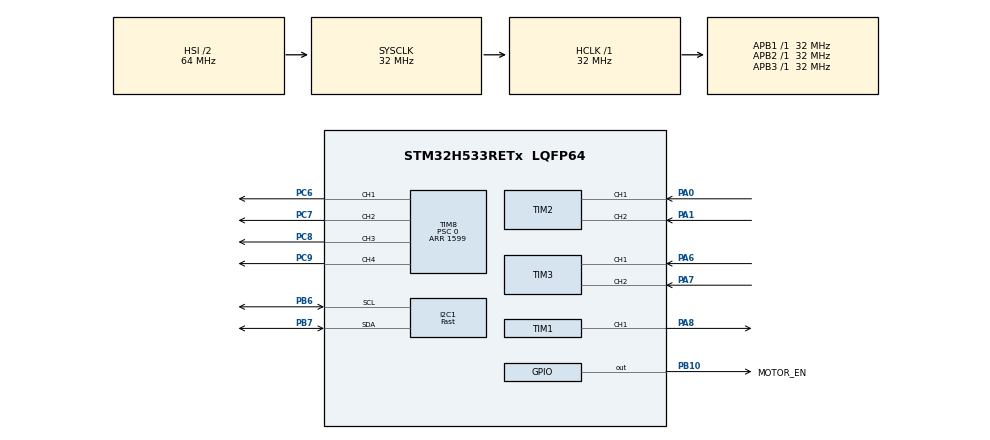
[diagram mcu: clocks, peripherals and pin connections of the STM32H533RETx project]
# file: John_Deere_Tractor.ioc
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BOOTPATH.BootPathName=LEGACY
BOOTPATH.UserSelectedBootPath=LEGACY
CORTEX_M33_NS.Number-Cortex_Memory_Protection_Unit_Region0_OTP_RO_AREAS_Settings=MPU_REGION_NUMBER0
CORTEX_M33_NS.default_mode_Activation=1
CORTEX_M33_NS.userName=CORTEX_M33
I2C1.I2C_Speed_Mode=I2C_Fast
I2C1.Timing=0x00300F38
Mcu.Family=STM32H5
Mcu.Name=STM32H533RETx
Mcu.Package=LQFP64
NUCLEO-H533RE.BUTTON=1
NUCLEO-H533RE.LD4=true
NUCLEO-H533RE.VCP=true
NVIC.EXTI13_IRQn=true\:0\:0\:false\:false\:true\:false\:true\:true
NVIC.PriorityGroup=NVIC_PRIORITYGROUP_4
NVIC.TIM6_IRQn=true\:0\:0\:false\:false\:true\:true\:true\:true
PA0.Signal=S_TIM2_CH1
PA1.Signal=S_TIM2_CH2
PA13(JTMS/SWDIO).GPIO_Label=SWDIO
PA13(JTMS/SWDIO).Signal=DEBUG_JTMS-SWDIO
PA14(JTCK/SWCLK).GPIO_Label=SWCLK
PA14(JTCK/SWCLK).Signal=DEBUG_JTCK-SWCLK
PA15(JTDI).GPIO_Label=JTDI
PA15(JTDI).Signal=DEBUG_JTDI
PA2.Signal=USART2_TX
PA3.Signal=USART2_RX
PA6.Signal=S_TIM3_CH1
PA7.Signal=S_TIM3_CH2
PA8.Signal=S_TIM1_CH1
PB10.GPIO_Label=MOTOR_EN
PB10.Signal=GPIO_Output
PB3(JTDO/TRACESWO).GPIO_Label=SWO
PB3(JTDO/TRACESWO).Signal=DEBUG_JTDO-SWO
PB6.Mode=I2C
PB6.Signal=I2C1_SCL
PB7.Mode=I2C
PB7.Signal=I2C1_SDA
PC6.Signal=S_TIM8_CH1
PC7.Signal=S_TIM8_CH2
PC8.Signal=S_TIM8_CH3
PC9.Signal=S_TIM8_CH4
ProjectManager.HeapSize=0x200
ProjectManager.StackSize=0x400
ProjectManager.TargetToolchain=CMake
RCC.ADCFreq_Value=32000000
RCC.AHBFreq_Value=32000000
RCC.APB1Freq_Value=32000000
RCC.APB1TimFreq_Value=32000000
RCC.APB2Freq_Value=32000000
RCC.APB2TimFreq_Value=32000000
RCC.APB3Freq_Value=32000000
RCC.CSI_VALUE=4000000
RCC.CortexFreq_Value=32000000
RCC.EPOD_VALUE=4000000
RCC.HCLKFreq_Value=32000000
RCC.HSE_VALUE=25000000
RCC.HSI48_VALUE=48000000
RCC.HSI_VALUE=64000000
RCC.LSE_VALUE=32768
RCC.LSIRC_VALUE=32000
RCC.SYSCLKFreq_VALUE=32000000
RCC.USBFreq_Value=48000000
RCC.VCOOutputFreq_Value=516000000
SH.S_TIM1_CH1.0=TIM1_CH1,PWM Generation1 CH1
SH.S_TIM2_CH1.0=TIM2_CH1,Encoder_Interface
SH.S_TIM2_CH2.0=TIM2_CH2,Encoder_Interface
SH.S_TIM3_CH1.0=TIM3_CH1,Encoder_Interface
SH.S_TIM3_CH2.0=TIM3_CH2,Encoder_Interface
SH.S_TIM8_CH1.0=TIM8_CH1,PWM Generation1 CH1
SH.S_TIM8_CH2.0=TIM8_CH2,PWM Generation2 CH2
SH.S_TIM8_CH3.0=TIM8_CH3,PWM Generation3 CH3
SH.S_TIM8_CH4.0=TIM8_CH4,PWM Generation4 CH4
TIM1.Channel-PWM\ Generation1\ CH1=TIM_CHANNEL_1
TIM1.PeriodNoDither=19999
TIM1.Prescaler=31
TIM2.EncoderMode=TIM_ENCODERMODE_TI12
TIM2.IC1Filter=8
TIM2.IC2Filter=8
TIM3.EncoderMode=TIM_ENCODERMODE_TI12
TIM3.IC1Filter=8
TIM3.IC2Filter=8
TIM6.PeriodNoDither=99
TIM6.Prescaler=3199
TIM8.Channel-PWM\ Generation1\ CH1=TIM_CHANNEL_1
TIM8.Channel-PWM\ Generation2\ CH2=TIM_CHANNEL_2
TIM8.Channel-PWM\ Generation3\ CH3=TIM_CHANNEL_3
TIM8.Channel-PWM\ Generation4\ CH4=TIM_CHANNEL_4
TIM8.PeriodNoDither=1599
TIM8.Prescaler=0
VP_BOOTPATH_VS_BOOTPATH.Mode=BP_Activate
VP_CORTEX_M33_NS_VS_Hclk.Mode=Hclk_Mode
VP_ICACHE_VS_ICACHE.Mode=DirectMappedCache
VP_MEMORYMAP_VS_MEMORYMAP.Mode=CurAppReg
VP_NUCLEO-H533RE_VS_BSP_COMMON.Mode=COMMON
VP_PWR_VS_LPOM.Mode=PowerOptimisation
VP_PWR_VS_SECSignals.Mode=Security/Privilege
VP_TIM1_VS_ClockSourceINT.Mode=Internal
VP_TIM6_VS_ClockSourceINT.Mode=Enable_Timer
VP_TIM8_VS_ClockSourceINT.Mode=Internal
board=NUCLEO-H533RE

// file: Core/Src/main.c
/* USER CODE BEGIN Header */
/**
  ******************************************************************************
  * @file           : main.c
  * @brief          : Main program body
  ******************************************************************************
  * @attention
  *
  * Copyright (c) 2026 STMicroelectronics.
  * All rights reserved.
  *
  * This software is licensed under terms that can be found in the LICENSE file
  * in the root directory of this software component.
  * If no LICENSE file comes with this software, it is provided AS-IS.
  *
  ******************************************************************************
  */
/* USER CODE END Header */
#include "main.h"

/* USER CODE BEGIN Includes */
#include <math.h>
#include "constants.h"
#include "pins.h"
#include "motor.h"
#include "servo.h"
#include "pid.h"
#include "bno085.h"
#include "heading_hold.h"
#include "distance.h"
#include "math_utils.h"

/* USER CODE END Includes */

COM_InitTypeDef BspCOMInit;

I2C_HandleTypeDef hi2c1;

TIM_HandleTypeDef htim1;
TIM_HandleTypeDef htim2;
TIM_HandleTypeDef htim3;
TIM_HandleTypeDef htim6;
TIM_HandleTypeDef htim8;

/* USER CODE BEGIN PV */
/* Written by the TIM6 interrupt, read by the main loop */
static volatile uint32_t sample_seq     = 0;  /* number of encoder samples since the start */
static volatile uint16_t sample_count_l = 0;  /* left encoder count at the last sample     */
static volatile uint16_t sample_count_r = 0;  /* right encoder count at the last sample    */
/* USER CODE END PV */

void SystemClock_Config(void);
static void MPU_Config(void);
static void MX_GPIO_Init(void);
static void MX_ICACHE_Init(void);
static void MX_TIM1_Init(void);
static void MX_TIM6_Init(void);
static void MX_I2C1_Init(void);
static void MX_TIM2_Init(void);
static void MX_TIM3_Init(void);
static void MX_TIM8_Init(void);

/* USER CODE BEGIN 0 */
static Motor motor_l, motor_r;
static Servo servo;
static Pid   pid_l, pid_r;

static Bno085      imu;
static HeadingHold heading;
static Pid         pid_heading;
static uint8_t     imu_ok = 0;      /* 1 = the BNO085 started and the heading zero is set */

/* Operator command */
static int32_t  drive_dir  = 0;     /* +1 = forward, -1 = reverse, 0 = stop       */
static int32_t  speed_pct  = 10;    /* 10 to 100 % of WHEEL_SPEED_MAX_RPM         */
static float    steer_deg  = 0.0f;  /* positive = left                            */
static uint32_t t_last_key = 0;     /* time of the last W or S key                */

/* Wheel control state */
static float    target_rpm = 0.0f;  /* vehicle speed target after the ramp        */
static float    rpm_l, rpm_r;       /* measured wheel speeds                      */
static float    cmd_l, cmd_r;       /* motor commands, -100 to 100 %              */
static uint32_t t_motion_l, t_motion_r;  /* last time without a stall condition   */
static uint8_t  stalled    = 0;     /* 1 = stall detected. The Space key clears it. */
static uint32_t overruns   = 0;     /* encoder samples that the main loop missed  */

/* Distance for the telemetry: millimeters, -1 = no target, -2 = not valid. */
static int distance_for_telemetry(DistId id)
{
  uint16_t mm = 0;
  switch (distance_read(id, &mm))
  {
    case DIST_OK:        return (int)mm;
    case DIST_NO_TARGET: return -1;
    default:             return -2;
  }
}

/* True when the heading PID controls the servo. False when the A and D keys control it. */
static uint8_t heading_hold_active(void)
{
  return (HEADING_HOLD_ENABLE != 0) && imu_ok;
}

static void motors_stop(void)
{
  target_rpm = 0.0f;
  cmd_l = 0.0f;
  cmd_r = 0.0f;
  motor_set(&motor_l, 0.0f);
  motor_set(&motor_r, 0.0f);
  pid_reset(&pid_l);
  pid_reset(&pid_r);
}

/* Read one key from the serial port. This function does not wait. */
static void read_key(uint32_t now)
{
  USART_TypeDef *uart = hcom_uart[COM1].Instance;

  /* An overrun error stops the receiver until the flag is cleared. */
  if ((uart->ISR & USART_ISR_ORE) != 0U) { uart->ICR = USART_ICR_ORECF; }
  if ((uart->ISR & USART_ISR_RXNE_RXFNE) == 0U) { return; }

  const char key = (char)uart->RDR;
  switch (key)
  {
    /* Hold-to-drive: only the two drive keys start the command timeout again. */
    case 'w': case 'W': drive_dir = 1;  t_last_key = now; break;
    case 's': case 'S': drive_dir = -1; t_last_key = now; break;
    case 'a': case 'A':
      if (heading_hold_active()) { heading_hold_add_to_target(&heading, HEADING_STEP_DEG); }
      else                       { steer_deg += STEER_STEP_DEG; }
      break;
    case 'd': case 'D':
      if (heading_hold_active()) { heading_hold_add_to_target(&heading, -HEADING_STEP_DEG); }
      else                       { steer_deg -= STEER_STEP_DEG; }
      break;
    case ' ':
      drive_dir = 0;
      motors_stop();  /* immediate stop, no ramp */
      steer_deg = 0.0f;
      heading.target = heading.current_yaw;  /* hold the present heading */
      stalled   = 0;
      HAL_GPIO_WritePin(MOTOR_EN_GPIO_Port, MOTOR_EN_Pin, GPIO_PIN_SET);
      break;
    case '0': speed_pct = 100; break;
    default:
      if (key < '1' || key > '9') { return; }
      speed_pct = (int32_t)(key - '0') * 10;
      break;
  }

  steer_deg  = clampf(steer_deg, -SERVO_MAX_STEER_DEG, SERVO_MAX_STEER_DEG);
  servo_set_deg(&servo, steer_deg);
}

/* Heading hold: the heading PID gives the steering angle. */
static void steering_control(uint32_t now)
{
  if (!heading_hold_active()) { return; }

  float out;
  if (!heading_hold_update(&heading, now, target_rpm != 0.0f, &out))
  {
    drive_dir = 0;  /* no valid heading: do not move */
    return;
  }

  /* In reverse, the same steering angle turns the heading in the opposite direction. */
  steer_deg = (target_rpm < 0.0f) ? -out : out;
  servo_set_deg(&servo, steer_deg);
}

/* Feedforward and PI for one wheel. Returns the motor command in percent. */
static float wheel_command(Pid *pid, float target, float measured, float dt_s)
{
  if (target == 0.0f)
  {
    pid_reset(pid);
    return 0.0f;
  }
  /* The PI gets only the part of the command range that the feedforward term leaves.
   * Thus its anti-windup operates on the total command. */
  const float ff = WHEEL_FF_PCT_PER_RPM * target;
  pid_set_output_limits(pid, -100.0f - ff, 100.0f - ff);
  return clampf(ff + pid_update(pid, target, measured, dt_s), -100.0f, 100.0f);
}

/* Stall condition: a high command and no encoder counts for STALL_TIMEOUT_MS. */
static uint8_t wheel_stalled(float cmd, int32_t delta_counts, uint32_t *t_motion, uint32_t now)
{
  if (fabsf(cmd) < (float)STALL_MIN_DUTY || delta_counts != 0) { *t_motion = now; }
  return (now - *t_motion) >= STALL_TIMEOUT_MS;
}

/* Run the two wheel controllers one time for each new encoder sample. */
static void wheel_control(uint32_t now)
{
  static uint32_t last_seq = 0;
  static uint16_t last_l = 0, last_r = 0;

  __disable_irq();
  const uint32_t seq     = sample_seq;
  const uint16_t count_l = sample_count_l;
  const uint16_t count_r = sample_count_r;
  __enable_irq();

  const uint32_t samples = seq - last_seq;
  if (samples == 0U) { return; }              /* no new measurement: do not use the old one again */
  if (samples > 1U)  { overruns += samples - 1U; }

  /* dt is the real time between the two encoder counts.
   * The 16-bit subtraction gives the correct signed difference when the counter wraps. */
  const float   dt_s    = (float)samples * WHEEL_CONTROL_DT_S;
  const int32_t delta_l = ENC_DIR_LEFT  * (int32_t)(int16_t)(uint16_t)(count_l - last_l);
  const int32_t delta_r = ENC_DIR_RIGHT * (int32_t)(int16_t)(uint16_t)(count_r - last_r);
  last_seq = seq;
  last_l   = count_l;
  last_r   = count_r;

  rpm_l = rpm_from_counts(delta_l, (float)COUNTS_PER_WHEEL_REV, dt_s);
  rpm_r = rpm_from_counts(delta_r, (float)COUNTS_PER_WHEEL_REV, dt_s);

  if (stalled) { return; }

  /* Ramp the speed target toward the operator command. */
  const float goal = (float)drive_dir * (float)speed_pct / 100.0f * WHEEL_SPEED_MAX_RPM;
  const float rate = (fabsf(goal) < fabsf(target_rpm)) ? WHEEL_DECEL_RPM_PER_S : WHEEL_ACCEL_RPM_PER_S;
  const float step = rate * dt_s;
  target_rpm += clampf(goal - target_rpm, -step, step);

  /* In a left turn (positive steering angle) the left wheel is the inner wheel. */
  const float ratio = rear_wheel_ratio(steer_deg, TRACK_WIDTH_MM, WHEELBASE_MM);
  cmd_l = wheel_command(&pid_l, target_rpm * (1.0f - ratio), rpm_l, dt_s);
  cmd_r = wheel_command(&pid_r, target_rpm * (1.0f + ratio), rpm_r, dt_s);
  motor_set(&motor_l, cmd_l);
  motor_set(&motor_r, cmd_r);

  const uint8_t stall_l = wheel_stalled(cmd_l, delta_l, &t_motion_l, now);
  const uint8_t stall_r = wheel_stalled(cmd_r, delta_r, &t_motion_r, now);
  if (stall_l || stall_r)
  {
    stalled   = 1;
    drive_dir = 0;
    HAL_GPIO_WritePin(MOTOR_EN_GPIO_Port, MOTOR_EN_Pin, GPIO_PIN_RESET);
    motors_stop();
  }
}
/* USER CODE END 0 */

int main(void)
{

  /* MCU Configuration--------------------------------------------------------*/

  /* MPU Configuration--------------------------------------------------------*/
  MPU_Config();

  /* Reset of all peripherals, Initializes the Flash interface and the Systick. */
  HAL_Init();

  /* Configure the system clock */
  SystemClock_Config();

  /* Initialize all configured peripherals */
  MX_GPIO_Init();
  MX_ICACHE_Init();
  MX_TIM1_Init();
  MX_TIM6_Init();
  MX_I2C1_Init();
  MX_TIM2_Init();
  MX_TIM3_Init();
  MX_TIM8_Init();
  /* USER CODE BEGIN 2 */
  /* MOTOR_PWM_HZ sets the motor PWM frequency. This replaces the period value from CubeMX.
   * shortcut: correct only while the APB2 clock divider is 1 (timer clock = PCLK2). */
  __HAL_TIM_SET_AUTORELOAD(&MOTOR_PWM_TIM,
      HAL_RCC_GetPCLK2Freq() / (MOTOR_PWM_TIM.Init.Prescaler + 1U) / MOTOR_PWM_HZ - 1U);
  motor_init(&motor_l, &MOTOR_PWM_TIM, MOTOR_L_FWD_CH, MOTOR_L_REV_CH);
  motor_init(&motor_r, &MOTOR_PWM_TIM, MOTOR_R_FWD_CH, MOTOR_R_REV_CH);
  servo_init(&servo, &SERVO_TIM, SERVO_CHANNEL);

  pid_init(&pid_l, WHEEL_KP, WHEEL_KI, 0.0f);
  pid_init(&pid_r, WHEEL_KP, WHEEL_KI, 0.0f);
  pid_set_output_limits(&pid_l, -100.0f, 100.0f);
  pid_set_output_limits(&pid_r, -100.0f, 100.0f);

  /* BNO085 start and heading zero: about 3 s. The vehicle must not move during this time.
   * If the sensor does not answer, the firmware continues without heading data. */
  pid_init(&pid_heading, HEADING_KP, HEADING_KI, HEADING_KD);
  pid_set_output_limits(&pid_heading, -SERVO_MAX_STEER_DEG, SERVO_MAX_STEER_DEG);
  heading_hold_init(&heading, &imu, &pid_heading);
  imu_ok = bno085_begin(&imu, &BNO_I2C, BNO085_I2C_ADDR)
        && heading_hold_calibrate(&heading, HEADING_CAL_SAMPLES, HEADING_CAL_WARMUP_MS);

  /* A sensor that does not answer gives DIST_NOT_VALID. The other sensors continue to operate. */
  if (DISTANCE_ENABLE) { distance_init(&TOF_I2C); }

  HAL_TIM_Encoder_Start(&ENC_L_TIM, TIM_CHANNEL_ALL);
  HAL_TIM_Encoder_Start(&ENC_R_TIM, TIM_CHANNEL_ALL);
  /* WHEEL_CONTROL_PERIOD_MS sets the TIM6 period. This replaces the period value from CubeMX,
   * so the sample time and the RPM calculation always agree.
   * shortcut: correct only while the APB1 clock divider is 1 (timer clock = PCLK1). */
  __HAL_TIM_SET_AUTORELOAD(&ENC_SAMPLE_TIM,
      HAL_RCC_GetPCLK1Freq() / (ENC_SAMPLE_TIM.Init.Prescaler + 1U) / 1000U * WHEEL_CONTROL_PERIOD_MS - 1U);
  HAL_TIM_Base_Start_IT(&ENC_SAMPLE_TIM);

  HAL_GPIO_WritePin(MOTOR_EN_GPIO_Port, MOTOR_EN_Pin, GPIO_PIN_SET);

  uint32_t t_telemetry = HAL_GetTick();
  uint32_t t_steering  = t_telemetry;
  uint32_t t_imu_read  = t_telemetry;
  t_motion_l = t_telemetry;
  t_motion_r = t_telemetry;
  /* USER CODE END 2 */

  /* Initialize leds */
  BSP_LED_Init(LED_GREEN);

  /* Initialize USER push-button, will be used to trigger an interrupt each time it's pressed.*/
  BSP_PB_Init(BUTTON_USER, BUTTON_MODE_EXTI);

  /* Initialize COM1 port (115200, 8 bits (7-bit data + 1 stop bit), no parity */
  BspCOMInit.BaudRate   = 115200;
  BspCOMInit.WordLength = COM_WORDLENGTH_8B;
  BspCOMInit.StopBits   = COM_STOPBITS_1;
  BspCOMInit.Parity     = COM_PARITY_NONE;
  BspCOMInit.HwFlowCtl  = COM_HWCONTROL_NONE;
  if (BSP_COM_Init(COM1, &BspCOMInit) != BSP_ERROR_NONE)
  {
    Error_Handler();
  }

  /* Infinite loop */
  while (1)
  {

    /* USER CODE BEGIN 3 */
    uint32_t now = HAL_GetTick();

    read_key(now);

    /* Hold-to-drive: stop when no key arrives for COMMAND_TIMEOUT_MS. */
    if (drive_dir != 0 && (now - t_last_key) >= COMMAND_TIMEOUT_MS) { drive_dir = 0; }

    /* Heading hold is selected but the sensor did not start: do not move. */
    if (HEADING_HOLD_ENABLE && !imu_ok) { drive_dir = 0; }

    wheel_control(now);

    /* The BNO085 read uses I2C and can take some milliseconds. It stays in the main loop. */
    if (now - t_imu_read >= BNO_READ_PERIOD_MS)
    {
      t_imu_read = now;
      bno085_update(&imu);
    }
    if (DISTANCE_ENABLE) { distance_update(); }
    if (now - t_steering >= STEERING_CONTROL_PERIOD_MS)
    {
      t_steering = now;
      steering_control(now);
    }

    /* shortcut: printf stops the loop for some milliseconds. If the overrun count ("ov")
     * increases, use interrupt or DMA transmission. */
    if (now - t_telemetry >= TELEMETRY_PERIOD_MS)
    {
      t_telemetry = now;
      /* g and r: heading change since the start, from the Game Rotation Vector and the
       * Rotation Vector. Each report has its own zero reference. */
      const char *imu_state = !imu_ok ? " IMU-FAIL"
                            : !bno085_fresh(&imu, HEADING_SOURCE, now) ? " IMU-STALE" : "";
      printf("tgt %d rpm %d %d cmd %d %d steer %d g %d r %d rst %lu ov %lu%s%s\r\n",
             (int)target_rpm, (int)rpm_l, (int)rpm_r, (int)cmd_l, (int)cmd_r, (int)steer_deg,
             (int)bno085_relative_yaw(&imu, HEADING_SOURCE_GAME_RV),
             (int)bno085_relative_yaw(&imu, HEADING_SOURCE_RV),
             (unsigned long)imu.reset_count, (unsigned long)overruns,
             stalled ? " STALL" : "", imu_state);
      /* A second line, so that the format of the first line does not change. */
      if (DISTANCE_ENABLE)
      {
        printf("dist %d %d %d\r\n", distance_for_telemetry(DIST_FRONT),
               distance_for_telemetry(DIST_RIGHT_LOW), distance_for_telemetry(DIST_RIGHT_HIGH));
      }
    }
  }
  /* USER CODE END 3 */
}

void SystemClock_Config(void)
{
  RCC_OscInitTypeDef RCC_OscInitStruct = {0};
  RCC_ClkInitTypeDef RCC_ClkInitStruct = {0};

  /** Configure the main internal regulator output voltage
  */
  __HAL_PWR_VOLTAGESCALING_CONFIG(PWR_REGULATOR_VOLTAGE_SCALE3);

  while(!__HAL_PWR_GET_FLAG(PWR_FLAG_VOSRDY)) {}

  /** Initializes the RCC Oscillators according to the specified parameters
  * in the RCC_OscInitTypeDef structure.
  */
  RCC_OscInitStruct.OscillatorType = RCC_OSCILLATORTYPE_HSI;
  RCC_OscInitStruct.HSIState = RCC_HSI_ON;
  RCC_OscInitStruct.HSIDiv = RCC_HSI_DIV2;
  RCC_OscInitStruct.HSICalibrationValue = RCC_HSICALIBRATION_DEFAULT;
  RCC_OscInitStruct.PLL.PLLState = RCC_PLL_NONE;
  if (HAL_RCC_OscConfig(&RCC_OscInitStruct) != HAL_OK)
  {
    Error_Handler();
  }

  /** Initializes the CPU, AHB and APB buses clocks
  */
  RCC_ClkInitStruct.ClockType = RCC_CLOCKTYPE_HCLK|RCC_CLOCKTYPE_SYSCLK
                              |RCC_CLOCKTYPE_PCLK1|RCC_CLOCKTYPE_PCLK2
                              |RCC_CLOCKTYPE_PCLK3;
  RCC_ClkInitStruct.SYSCLKSource = RCC_SYSCLKSOURCE_HSI;
  RCC_ClkInitStruct.AHBCLKDivider = RCC_SYSCLK_DIV1;
  RCC_ClkInitStruct.APB1CLKDivider = RCC_HCLK_DIV1;
  RCC_ClkInitStruct.APB2CLKDivider = RCC_HCLK_DIV1;
  RCC_ClkInitStruct.APB3CLKDivider = RCC_HCLK_DIV1;

  if (HAL_RCC_ClockConfig(&RCC_ClkInitStruct, FLASH_LATENCY_1) != HAL_OK)
  {
    Error_Handler();
  }

  /** Configure the programming delay
  */
  __HAL_FLASH_SET_PROGRAM_DELAY(FLASH_PROGRAMMING_DELAY_0);
}

static void MX_I2C1_Init(void)
{

  hi2c1.Instance = I2C1;
  hi2c1.Init.Timing = 0x00300F38;
  hi2c1.Init.OwnAddress1 = 0;
  hi2c1.Init.AddressingMode = I2C_ADDRESSINGMODE_7BIT;
  hi2c1.Init.DualAddressMode = I2C_DUALADDRESS_DISABLE;
  hi2c1.Init.OwnAddress2 = 0;
  hi2c1.Init.OwnAddress2Masks = I2C_OA2_NOMASK;
  hi2c1.Init.GeneralCallMode = I2C_GENERALCALL_DISABLE;
  hi2c1.Init.NoStretchMode = I2C_NOSTRETCH_DISABLE;
  if (HAL_I2C_Init(&hi2c1) != HAL_OK)
  {
    Error_Handler();
  }

  /** Configure Analogue filter
  */
  if (HAL_I2CEx_ConfigAnalogFilter(&hi2c1, I2C_ANALOGFILTER_ENABLE) != HAL_OK)
  {
    Error_Handler();
  }

  /** Configure Digital filter
  */
  if (HAL_I2CEx_ConfigDigitalFilter(&hi2c1, 0) != HAL_OK)
  {
    Error_Handler();
  }

}

static void MX_ICACHE_Init(void)
{

  /** Enable instruction cache in 1-way (direct mapped cache)
  */
  if (HAL_ICACHE_ConfigAssociativityMode(ICACHE_1WAY) != HAL_OK)
  {
    Error_Handler();
  }
  if (HAL_ICACHE_Enable() != HAL_OK)
  {
    Error_Handler();
  }

}

static void MX_TIM1_Init(void)
{

  TIM_ClockConfigTypeDef sClockSourceConfig = {0};
  TIM_MasterConfigTypeDef sMasterConfig = {0};
  TIM_OC_InitTypeDef sConfigOC = {0};
  TIM_BreakDeadTimeConfigTypeDef sBreakDeadTimeConfig = {0};

  htim1.Instance = TIM1;
  htim1.Init.Prescaler = 31;
  htim1.Init.CounterMode = TIM_COUNTERMODE_UP;
  htim1.Init.Period = 19999;
  htim1.Init.ClockDivision = TIM_CLOCKDIVISION_DIV1;
  htim1.Init.RepetitionCounter = 0;
  htim1.Init.AutoReloadPreload = TIM_AUTORELOAD_PRELOAD_DISABLE;
  if (HAL_TIM_Base_Init(&htim1) != HAL_OK)
  {
    Error_Handler();
  }
  sClockSourceConfig.ClockSource = TIM_CLOCKSOURCE_INTERNAL;
  if (HAL_TIM_ConfigClockSource(&htim1, &sClockSourceConfig) != HAL_OK)
  {
    Error_Handler();
  }
  if (HAL_TIM_PWM_Init(&htim1) != HAL_OK)
  {
    Error_Handler();
  }
  sMasterConfig.MasterOutputTrigger = TIM_TRGO_RESET;
  sMasterConfig.MasterOutputTrigger2 = TIM_TRGO2_RESET;
  sMasterConfig.MasterSlaveMode = TIM_MASTERSLAVEMODE_DISABLE;
  if (HAL_TIMEx_MasterConfigSynchronization(&htim1, &sMasterConfig) != HAL_OK)
  {
    Error_Handler();
  }
  sConfigOC.OCMode = TIM_OCMODE_PWM1;
  sConfigOC.Pulse = 0;
  sConfigOC.OCPolarity = TIM_OCPOLARITY_HIGH;
  sConfigOC.OCNPolarity = TIM_OCNPOLARITY_HIGH;
  sConfigOC.OCFastMode = TIM_OCFAST_DISABLE;
  sConfigOC.OCIdleState = TIM_OCIDLESTATE_RESET;
  sConfigOC.OCNIdleState = TIM_OCNIDLESTATE_RESET;
  if (HAL_TIM_PWM_ConfigChannel(&htim1, &sConfigOC, TIM_CHANNEL_1) != HAL_OK)
  {
    Error_Handler();
  }
  sBreakDeadTimeConfig.OffStateRunMode = TIM_OSSR_DISABLE;
  sBreakDeadTimeConfig.OffStateIDLEMode = TIM_OSSI_DISABLE;
  sBreakDeadTimeConfig.LockLevel = TIM_LOCKLEVEL_OFF;
  sBreakDeadTimeConfig.DeadTime = 0;
  sBreakDeadTimeConfig.BreakState = TIM_BREAK_DISABLE;
  sBreakDeadTimeConfig.BreakPolarity = TIM_BREAKPOLARITY_HIGH;
  sBreakDeadTimeConfig.BreakFilter = 0;
  sBreakDeadTimeConfig.BreakAFMode = TIM_BREAK_AFMODE_INPUT;
  sBreakDeadTimeConfig.Break2State = TIM_BREAK2_DISABLE;
  sBreakDeadTimeConfig.Break2Polarity = TIM_BREAK2POLARITY_HIGH;
  sBreakDeadTimeConfig.Break2Filter = 0;
  sBreakDeadTimeConfig.Break2AFMode = TIM_BREAK_AFMODE_INPUT;
  sBreakDeadTimeConfig.AutomaticOutput = TIM_AUTOMATICOUTPUT_DISABLE;
  if (HAL_TIMEx_ConfigBreakDeadTime(&htim1, &sBreakDeadTimeConfig) != HAL_OK)
  {
    Error_Handler();
  }
  HAL_TIM_MspPostInit(&htim1);

}

static void MX_TIM2_Init(void)
{

  TIM_Encoder_InitTypeDef sConfig = {0};
  TIM_MasterConfigTypeDef sMasterConfig = {0};

  htim2.Instance = TIM2;
  htim2.Init.Prescaler = 0;
  htim2.Init.CounterMode = TIM_COUNTERMODE_UP;
  htim2.Init.Period = 4294967295;
  htim2.Init.ClockDivision = TIM_CLOCKDIVISION_DIV1;
  htim2.Init.AutoReloadPreload = TIM_AUTORELOAD_PRELOAD_DISABLE;
  sConfig.EncoderMode = TIM_ENCODERMODE_TI12;
  sConfig.IC1Polarity = TIM_ICPOLARITY_RISING;
  sConfig.IC1Selection = TIM_ICSELECTION_DIRECTTI;
  sConfig.IC1Prescaler = TIM_ICPSC_DIV1;
  sConfig.IC1Filter = 8;
  sConfig.IC2Polarity = TIM_ICPOLARITY_RISING;
  sConfig.IC2Selection = TIM_ICSELECTION_DIRECTTI;
  sConfig.IC2Prescaler = TIM_ICPSC_DIV1;
  sConfig.IC2Filter = 8;
  if (HAL_TIM_Encoder_Init(&htim2, &sConfig) != HAL_OK)
  {
    Error_Handler();
  }
  sMasterConfig.MasterOutputTrigger = TIM_TRGO_RESET;
  sMasterConfig.MasterSlaveMode = TIM_MASTERSLAVEMODE_DISABLE;
  if (HAL_TIMEx_MasterConfigSynchronization(&htim2, &sMasterConfig) != HAL_OK)
  {
    Error_Handler();
  }

}

static void MX_TIM3_Init(void)
{

  TIM_Encoder_InitTypeDef sConfig = {0};
  TIM_MasterConfigTypeDef sMasterConfig = {0};

  htim3.Instance = TIM3;
  htim3.Init.Prescaler = 0;
  htim3.Init.CounterMode = TIM_COUNTERMODE_UP;
  htim3.Init.Period = 65535;
  htim3.Init.ClockDivision = TIM_CLOCKDIVISION_DIV1;
  htim3.Init.AutoReloadPreload = TIM_AUTORELOAD_PRELOAD_DISABLE;
  sConfig.EncoderMode = TIM_ENCODERMODE_TI12;
  sConfig.IC1Polarity = TIM_ICPOLARITY_RISING;
  sConfig.IC1Selection = TIM_ICSELECTION_DIRECTTI;
  sConfig.IC1Prescaler = TIM_ICPSC_DIV1;
  sConfig.IC1Filter = 8;
  sConfig.IC2Polarity = TIM_ICPOLARITY_RISING;
  sConfig.IC2Selection = TIM_ICSELECTION_DIRECTTI;
  sConfig.IC2Prescaler = TIM_ICPSC_DIV1;
  sConfig.IC2Filter = 8;
  if (HAL_TIM_Encoder_Init(&htim3, &sConfig) != HAL_OK)
  {
    Error_Handler();
  }
  sMasterConfig.MasterOutputTrigger = TIM_TRGO_RESET;
  sMasterConfig.MasterSlaveMode = TIM_MASTERSLAVEMODE_DISABLE;
  if (HAL_TIMEx_MasterConfigSynchronization(&htim3, &sMasterConfig) != HAL_OK)
  {
    Error_Handler();
  }

}

static void MX_TIM6_Init(void)
{

  TIM_MasterConfigTypeDef sMasterConfig = {0};

  htim6.Instance = TIM6;
  htim6.Init.Prescaler = 3199;
  htim6.Init.CounterMode = TIM_COUNTERMODE_UP;
  htim6.Init.Period = 99;
  htim6.Init.AutoReloadPreload = TIM_AUTORELOAD_PRELOAD_DISABLE;
  if (HAL_TIM_Base_Init(&htim6) != HAL_OK)
  {
    Error_Handler();
  }
  sMasterConfig.MasterOutputTrigger = TIM_TRGO_RESET;
  sMasterConfig.MasterSlaveMode = TIM_MASTERSLAVEMODE_DISABLE;
  if (HAL_TIMEx_MasterConfigSynchronization(&htim6, &sMasterConfig) != HAL_OK)
  {
    Error_Handler();
  }

}

static void MX_TIM8_Init(void)
{

  TIM_ClockConfigTypeDef sClockSourceConfig = {0};
  TIM_MasterConfigTypeDef sMasterConfig = {0};
  TIM_OC_InitTypeDef sConfigOC = {0};
  TIM_BreakDeadTimeConfigTypeDef sBreakDeadTimeConfig = {0};

  htim8.Instance = TIM8;
  htim8.Init.Prescaler = 0;
  htim8.Init.CounterMode = TIM_COUNTERMODE_UP;
  htim8.Init.Period = 1599;
  htim8.Init.ClockDivision = TIM_CLOCKDIVISION_DIV1;
  htim8.Init.RepetitionCounter = 0;
  htim8.Init.AutoReloadPreload = TIM_AUTORELOAD_PRELOAD_DISABLE;
  if (HAL_TIM_Base_Init(&htim8) != HAL_OK)
  {
    Error_Handler();
  }
  sClockSourceConfig.ClockSource = TIM_CLOCKSOURCE_INTERNAL;
  if (HAL_TIM_ConfigClockSource(&htim8, &sClockSourceConfig) != HAL_OK)
  {
    Error_Handler();
  }
  if (HAL_TIM_PWM_Init(&htim8) != HAL_OK)
  {
    Error_Handler();
  }
  sMasterConfig.MasterOutputTrigger = TIM_TRGO_RESET;
  sMasterConfig.MasterOutputTrigger2 = TIM_TRGO2_RESET;
  sMasterConfig.MasterSlaveMode = TIM_MASTERSLAVEMODE_DISABLE;
  if (HAL_TIMEx_MasterConfigSynchronization(&htim8, &sMasterConfig) != HAL_OK)
  {
    Error_Handler();
  }
  sConfigOC.OCMode = TIM_OCMODE_PWM1;
  sConfigOC.Pulse = 0;
  sConfigOC.OCPolarity = TIM_OCPOLARITY_HIGH;
  sConfigOC.OCNPolarity = TIM_OCNPOLARITY_HIGH;
  sConfigOC.OCFastMode = TIM_OCFAST_DISABLE;
  sConfigOC.OCIdleState = TIM_OCIDLESTATE_RESET;
  sConfigOC.OCNIdleState = TIM_OCNIDLESTATE_RESET;
  if (HAL_TIM_PWM_ConfigChannel(&htim8, &sConfigOC, TIM_CHANNEL_1) != HAL_OK)
  {
    Error_Handler();
  }
  if (HAL_TIM_PWM_ConfigChannel(&htim8, &sConfigOC, TIM_CHANNEL_2) != HAL_OK)
  {
    Error_Handler();
  }
  if (HAL_TIM_PWM_ConfigChannel(&htim8, &sConfigOC, TIM_CHANNEL_3) != HAL_OK)
  {
    Error_Handler();
  }
  if (HAL_TIM_PWM_ConfigChannel(&htim8, &sConfigOC, TIM_CHANNEL_4) != HAL_OK)
  {
    Error_Handler();
  }
  sBreakDeadTimeConfig.OffStateRunMode = TIM_OSSR_DISABLE;
  sBreakDeadTimeConfig.OffStateIDLEMode = TIM_OSSI_DISABLE;
  sBreakDeadTimeConfig.LockLevel = TIM_LOCKLEVEL_OFF;
  sBreakDeadTimeConfig.DeadTime = 0;
  sBreakDeadTimeConfig.BreakState = TIM_BREAK_DISABLE;
  sBreakDeadTimeConfig.BreakPolarity = TIM_BREAKPOLARITY_HIGH;
  sBreakDeadTimeConfig.BreakFilter = 0;
  sBreakDeadTimeConfig.BreakAFMode = TIM_BREAK_AFMODE_INPUT;
  sBreakDeadTimeConfig.Break2State = TIM_BREAK2_DISABLE;
  sBreakDeadTimeConfig.Break2Polarity = TIM_BREAK2POLARITY_HIGH;
  sBreakDeadTimeConfig.Break2Filter = 0;
  sBreakDeadTimeConfig.Break2AFMode = TIM_BREAK_AFMODE_INPUT;
  sBreakDeadTimeConfig.AutomaticOutput = TIM_AUTOMATICOUTPUT_DISABLE;
  if (HAL_TIMEx_ConfigBreakDeadTime(&htim8, &sBreakDeadTimeConfig) != HAL_OK)
  {
    Error_Handler();
  }
  HAL_TIM_MspPostInit(&htim8);

}

static void MX_GPIO_Init(void)
{
  GPIO_InitTypeDef GPIO_InitStruct = {0};

  /* GPIO Ports Clock Enable */
  __HAL_RCC_GPIOA_CLK_ENABLE();
  __HAL_RCC_GPIOB_CLK_ENABLE();
  __HAL_RCC_GPIOC_CLK_ENABLE();

  /*Configure GPIO pin Output Level */
  HAL_GPIO_WritePin(MOTOR_EN_GPIO_Port, MOTOR_EN_Pin, GPIO_PIN_RESET);

  /*Configure GPIO pin : MOTOR_EN_Pin */
  GPIO_InitStruct.Pin = MOTOR_EN_Pin;
  GPIO_InitStruct.Mode = GPIO_MODE_OUTPUT_PP;
  GPIO_InitStruct.Pull = GPIO_NOPULL;
  GPIO_InitStruct.Speed = GPIO_SPEED_FREQ_LOW;
  HAL_GPIO_Init(MOTOR_EN_GPIO_Port, &GPIO_InitStruct);

}

/* USER CODE BEGIN 4 */
/* ---- TIM6: record the two encoder counts. The main loop does the calculations. ---- */
void HAL_TIM_PeriodElapsedCallback(TIM_HandleTypeDef *htim)
{
  if (htim == &ENC_SAMPLE_TIM)
  {
    sample_count_l = (uint16_t)__HAL_TIM_GET_COUNTER(&ENC_L_TIM);
    sample_count_r = (uint16_t)__HAL_TIM_GET_COUNTER(&ENC_R_TIM);
    sample_seq++;
  }
}
/* USER CODE END 4 */

 /* MPU Configuration */

void MPU_Config(void)
{
  MPU_Region_InitTypeDef MPU_InitStruct = {0};
  MPU_Attributes_InitTypeDef MPU_AttributesInit = {0};

  /* Disables the MPU */
  HAL_MPU_Disable();

  /** Initializes and configures the Region 0 and the memory to be protected
  */
  MPU_InitStruct.Enable = MPU_REGION_ENABLE;
  MPU_InitStruct.Number = MPU_REGION_NUMBER0;
  MPU_InitStruct.BaseAddress = 0x08FFF000;
  MPU_InitStruct.LimitAddress = 0x08FFFFFF;
  MPU_InitStruct.AttributesIndex = MPU_ATTRIBUTES_NUMBER0;
  MPU_InitStruct.AccessPermission = MPU_REGION_ALL_RO;
  MPU_InitStruct.DisableExec = MPU_INSTRUCTION_ACCESS_DISABLE;
  MPU_InitStruct.IsShareable = MPU_ACCESS_NOT_SHAREABLE;

  HAL_MPU_ConfigRegion(&MPU_InitStruct);

  /** Initializes and configures the Attribute 0 and the memory to be protected
  */
  MPU_AttributesInit.Number = MPU_ATTRIBUTES_NUMBER0;
  MPU_AttributesInit.Attributes = INNER_OUTER(MPU_NOT_CACHEABLE);

  HAL_MPU_ConfigMemoryAttributes(&MPU_AttributesInit);
  /* Enables the MPU */
  HAL_MPU_Enable(MPU_PRIVILEGED_DEFAULT);

}

void Error_Handler(void)
{
  /* USER CODE BEGIN Error_Handler_Debug */
  __disable_irq();
  MOTOR_EN_GPIO_Port->BRR = MOTOR_EN_Pin;  /* fault: disable the two motor drivers */
  while (1)
  {
  }
  /* USER CODE END Error_Handler_Debug */
}
